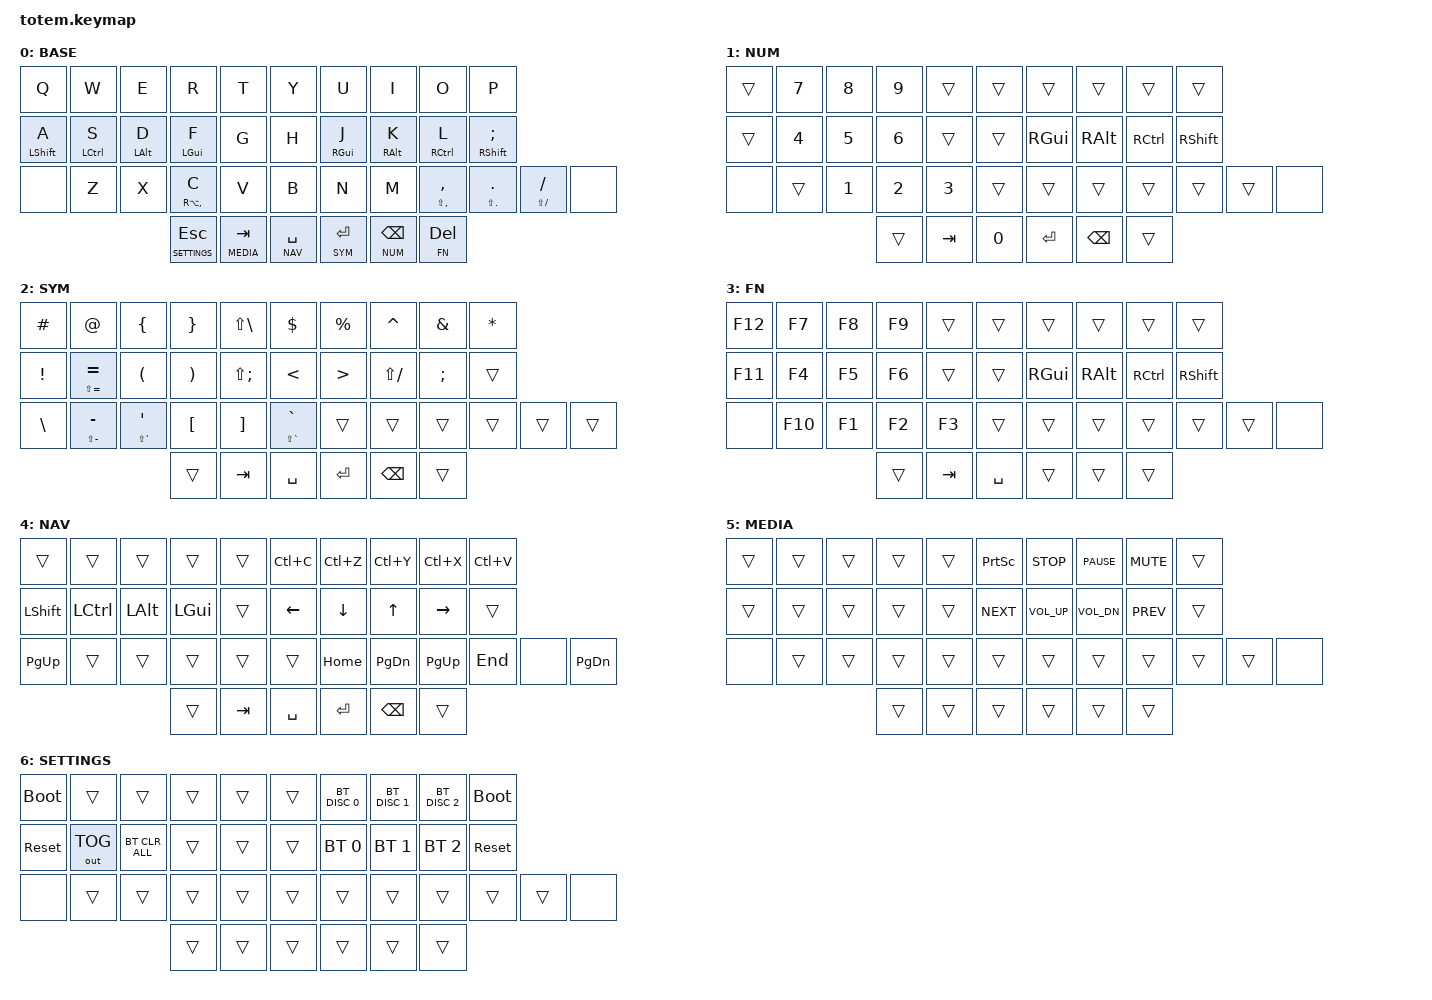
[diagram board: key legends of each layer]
#include <behaviors.dtsi>
#include <dt-bindings/zmk/bt.h>
#include <dt-bindings/zmk/keys.h>
#include <dt-bindings/zmk/outputs.h>

#define BASE     0
#define NUM      1
#define SYM      2
#define FN       3
#define NAV      4
#define MEDIA    5
#define SETTINGS 6

&lt {
    flavor = "balanced";
    tapping-term-ms = <200>;
    quick-tap-ms = <175>;
};

/ {
    behaviors {
        hml: home_row_mod_left {
            compatible = "zmk,behavior-hold-tap";
            label = "HML";
            #binding-cells = <2>;
            flavor = "balanced";
            tapping-term-ms = <280>;
            quick-tap-ms = <175>;
            require-prior-idle-ms = <100>;
            hold-trigger-on-release;
            hold-trigger-key-positions = <5 6 7 8 9 15 16 17 18 19 26 27 28 29 30 31 32 33 34 35 36 37>;
            bindings = <&kp>, <&kp>;
        };

        hmr: home_row_mod_right {
            compatible = "zmk,behavior-hold-tap";
            label = "HMR";
            #binding-cells = <2>;
            flavor = "balanced";
            tapping-term-ms = <280>;
            quick-tap-ms = <175>;
            require-prior-idle-ms = <100>;
            hold-trigger-on-release;
            hold-trigger-key-positions = <0 1 2 3 4 10 11 12 13 14 20 21 22 23 24 25 32 33 34 35 36 37>;
            bindings = <&kp>, <&kp>;
        };

        sym_ht: symbol_hold_tap {
            compatible = "zmk,behavior-hold-tap";
            label = "SYM_HT";
            #binding-cells = <2>;
            flavor = "tap-preferred";
            tapping-term-ms = <170>;
            quick-tap-ms = <175>;
            bindings = <&kp>, <&kp>;
        };
    };

    combos { compatible = "zmk,combos"; };

    keymap {
        compatible = "zmk,keymap";

        base_layer {
            label = "BASE";
            bindings = <
&kp Q             &kp W               &kp E            &kp R           &kp T      &kp Y        &kp U            &kp I                &kp O                  &kp P
&hml LEFT_SHIFT A  &hml LEFT_CONTROL S  &hml LEFT_ALT D   &hml LEFT_GUI F  &kp G      &kp H        &hmr RIGHT_GUI J  &hmr RIGHT_ALT K      &hmr RIGHT_CONTROL L    &hmr RIGHT_SHIFT SEMICOLON
&none              &kp Z                &kp X             &sym_ht RA(COMMA) C &kp V      &kp B        &kp N            &kp M                &sym_ht LS(COMMA) COMMA    &sym_ht LS(PERIOD) PERIOD  &sym_ht LS(SLASH) SLASH  &none
                                                        &lt SETTINGS ESC  &lt MEDIA TAB  &lt NAV SPACE  &lt SYM ENTER      &lt NUM BACKSPACE      &lt FN DELETE
            >;
        };

        layer_1 {
            label = "NUM";
            bindings = <
&trans  &kp N7  &kp N8  &kp N9  &trans   &trans     &trans     &trans         &trans     &trans
&trans  &kp N4  &kp N5  &kp N6  &trans   &trans     &kp RGUI   &kp RALT       &kp RCTRL  &kp RSHFT
&none   &trans  &kp N1  &kp N2  &kp N3   &trans     &trans     &trans         &trans     &trans     &trans          &none
                        &trans  &kp TAB  &kp N0     &kp ENTER  &kp BACKSPACE  &trans
            >;
        };

        layer_2 {
            label = "SYM";
            bindings = <
&kp HASH       &kp AT_SIGN          &kp LEFT_BRACE       &kp RIGHT_BRACE      &kp LS(BACKSLASH)    &kp DOLLAR      &kp PERCENT     &kp CARET       &kp AMPERSAND    &kp ASTERISK
&kp EXCLAMATION &sym_ht LS(EQUAL) EQUAL &kp LEFT_PARENTHESIS &kp RIGHT_PARENTHESIS &kp LS(SEMICOLON) &kp LESS_THAN   &kp GREATER_THAN &kp LS(SLASH)   &kp SEMICOLON    &trans
&kp BACKSLASH  &sym_ht LS(MINUS) MINUS  &sym_ht LS(SQT) SQT   &kp LEFT_BRACKET     &kp RIGHT_BRACKET  &sym_ht LS(GRAVE) GRAVE &trans  &trans  &trans  &trans  &trans  &trans
                                                   &trans                &kp TAB        &kp SPACE         &kp RET                &kp BACKSPACE    &trans
            >;
        };

        layer_3 {
            label = "FN";
            bindings = <
&kp F12  &kp F7  &kp F8  &kp F9  &trans   &trans     &trans    &trans    &trans     &trans
&kp F11  &kp F4  &kp F5  &kp F6  &trans   &trans     &kp RGUI  &kp RALT  &kp RCTRL  &kp RSHFT
&none    &kp F10 &kp F1  &kp F2  &kp F3   &trans     &trans    &trans    &trans     &trans     &trans      &none
                         &trans  &kp TAB  &kp SPACE  &trans    &trans    &trans
            >;
        };

        layer_4 {
            label = "NAV";
            bindings = <
&trans          &trans            &trans        &trans        &trans   &kp LC(C)       &kp LC(Z)       &kp LC(Y)      &kp LC(X)        &kp LC(V)
&kp LEFT_SHIFT  &kp LEFT_CONTROL  &kp LEFT_ALT  &kp LEFT_GUI  &trans   &kp LEFT_ARROW  &kp DOWN_ARROW  &kp UP_ARROW   &kp RIGHT_ARROW  &trans
&kp PG_UP       &trans            &trans        &trans        &trans   &trans          &kp HOME        &kp PAGE_DOWN   &kp PG_UP       &kp END          &none           &kp PAGE_DOWN
                                                &trans        &kp TAB  &kp SPACE       &kp RET         &kp BACKSPACE  &trans
            >;
        };

        layer_5 {
            label = "MEDIA";
            bindings = <
&trans  &trans  &trans  &trans  &trans  &kp PRINTSCREEN  &kp K_STOP       &kp C_PAUSE   &kp K_MUTE  &trans
&trans  &trans  &trans  &trans  &trans  &kp K_NEXT       &kp K_VOLUME_UP  &kp K_VOL_DN  &kp K_PREV  &trans
&none   &trans  &trans  &trans  &trans  &trans           &trans           &trans        &trans      &trans      &trans       &none
                        &trans  &trans  &trans           &trans           &trans        &trans
            >;
        };

        layer_6 {
            label = "SETTINGS";
            bindings = <
&bootloader  &trans        &trans          &trans  &trans  &trans  &bt BT_DISC 0  &bt BT_DISC 1  &bt BT_DISC 2  &bootloader
&sys_reset   &out OUT_TOG  &bt BT_CLR_ALL  &trans  &trans  &trans  &bt BT_SEL 0   &bt BT_SEL 1   &bt BT_SEL 2   &sys_reset
&none        &trans        &trans          &trans  &trans  &trans  &trans         &trans         &trans        &trans         &trans       &none
                                           &trans  &trans  &trans  &trans         &trans         &trans
            >;
        };
    };
};
